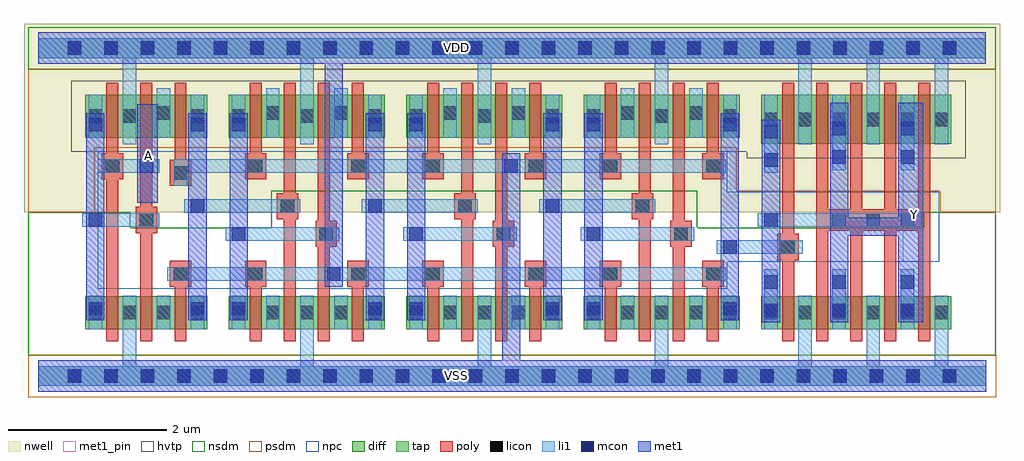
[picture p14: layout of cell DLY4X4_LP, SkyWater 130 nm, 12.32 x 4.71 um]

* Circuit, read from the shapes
.subckt DLY4X4_LP A VDD VSS Y
XM1 VSS A n1 VSS sky130_fd_pr__nfet_01v8 w=0.42 l=0.15
XM2 n2 n1 VSS VSS sky130_fd_pr__nfet_01v8 w=0.42 l=0.15
XM3 n3 VDD n2 VSS sky130_fd_pr__nfet_01v8 w=0.42 l=0.15
XM4 n4 VDD n5 VSS sky130_fd_pr__nfet_01v8 w=0.42 l=0.15
XM5 VSS n3 n4 VSS sky130_fd_pr__nfet_01v8 w=0.42 l=0.15
XM6 n6 n5 VSS VSS sky130_fd_pr__nfet_01v8 w=0.42 l=0.15
XM7 n7 VDD n6 VSS sky130_fd_pr__nfet_01v8 w=0.42 l=0.15
XM8 n8 VDD n9 VSS sky130_fd_pr__nfet_01v8 w=0.42 l=0.15
XM9 VSS n7 n8 VSS sky130_fd_pr__nfet_01v8 w=0.42 l=0.15
XM10 n10 n9 VSS VSS sky130_fd_pr__nfet_01v8 w=0.42 l=0.15
XM11 n11 VDD n10 VSS sky130_fd_pr__nfet_01v8 w=0.42 l=0.15
XM12 n12 VDD n13 VSS sky130_fd_pr__nfet_01v8 w=0.42 l=0.15
XM13 VSS n11 n12 VSS sky130_fd_pr__nfet_01v8 w=0.42 l=0.15
XM14 n14 n13 VSS VSS sky130_fd_pr__nfet_01v8 w=0.42 l=0.15
XM15 n15 VDD n14 VSS sky130_fd_pr__nfet_01v8 w=0.42 l=0.15
XM16 VSS n15 n16 VSS sky130_fd_pr__nfet_01v8 w=0.42 l=0.15
XM17 Y n16 VSS VSS sky130_fd_pr__nfet_01v8 w=0.42 l=0.15 m=4
XM18 VDD A n1 VDD sky130_fd_pr__pfet_01v8_hvt w=0.54 l=0.15
XM19 n17 n1 VDD VDD sky130_fd_pr__pfet_01v8_hvt w=0.54 l=0.15
XM20 n3 VSS n17 VDD sky130_fd_pr__pfet_01v8_hvt w=0.54 l=0.15
XM21 n18 VSS n5 VDD sky130_fd_pr__pfet_01v8_hvt w=0.54 l=0.15
XM22 VDD n3 n18 VDD sky130_fd_pr__pfet_01v8_hvt w=0.54 l=0.15
XM23 n19 n5 VDD VDD sky130_fd_pr__pfet_01v8_hvt w=0.54 l=0.15
XM24 n7 VSS n19 VDD sky130_fd_pr__pfet_01v8_hvt w=0.54 l=0.15
XM25 n20 VSS n9 VDD sky130_fd_pr__pfet_01v8_hvt w=0.54 l=0.15
XM26 VDD n7 n20 VDD sky130_fd_pr__pfet_01v8_hvt w=0.54 l=0.15
XM27 n21 n9 VDD VDD sky130_fd_pr__pfet_01v8_hvt w=0.54 l=0.15
XM28 n11 VSS n21 VDD sky130_fd_pr__pfet_01v8_hvt w=0.54 l=0.15
XM29 n22 VSS n13 VDD sky130_fd_pr__pfet_01v8_hvt w=0.54 l=0.15
XM30 VDD n11 n22 VDD sky130_fd_pr__pfet_01v8_hvt w=0.54 l=0.15
XM31 n23 n13 VDD VDD sky130_fd_pr__pfet_01v8_hvt w=0.54 l=0.15
XM32 n15 VSS n23 VDD sky130_fd_pr__pfet_01v8_hvt w=0.54 l=0.15
XM33 VDD n15 n16 VDD sky130_fd_pr__pfet_01v8_hvt w=0.62 l=0.15
XM34 Y n16 VDD VDD sky130_fd_pr__pfet_01v8_hvt w=0.62 l=0.15 m=4
.ends

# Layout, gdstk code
from math import pi, radians
import gdstk
lib = gdstk.Library(unit=1e-6, precision=1e-09)
def R(c, l, rs):  # rectangles x0, y0, x1, y1
    for r in rs: c.add(gdstk.rectangle(r[:2], r[2:], *l))
def A(c, l, x, y, w, h, nx, ny, dx, dy):  # array of equal rectangles
    R(c, l, [(x+i*dx, y+j*dy, x+i*dx+w, y+j*dy+h) for i in range(nx) for j in range(ny)])
def P(c, l, *ps):  # polygons
    for p in ps: c.add(gdstk.Polygon(p, *l))
nwell = (64, 20)
diff = (65, 20)
tap = (65, 44)
poly = (66, 20)
licon = (66, 44)
li1 = (67, 20)
mcon = (67, 44)
met1_pin = (68, 16)
met1 = (68, 20)
hvtp = (78, 44)
nsdm = (93, 44)
psdm = (94, 20)
npc = (95, 20)

l1m1_c_cdns_752016907003 = lib.new_cell('L1M1_C_CDNS_752016907003')
R(l1m1_c_cdns_752016907003, li1, [(-0.165,-0.085,0.165,0.085)])
R(l1m1_c_cdns_752016907003, mcon, [(-0.085,-0.085,0.085,0.085)])
R(l1m1_c_cdns_752016907003, met1, [(-0.115,-0.145,0.115,0.145)])

pyl1con_c_cdns_752016907 = lib.new_cell('PYL1CON_C_CDNS_752016907000')
R(pyl1con_c_cdns_752016907, poly, [(-0.135,-0.165,0.135,0.165)])
R(pyl1con_c_cdns_752016907, licon, [(-0.085,-0.085,0.085,0.085)])
R(pyl1con_c_cdns_752016907, npc, [(-0.185,-0.185,0.185,0.185)])

l1m1_c_cdns_752016907001 = lib.new_cell('L1M1_C_CDNS_752016907001')
R(l1m1_c_cdns_752016907001, li1, [(-0.085,-0.165,0.085,0.165)])
R(l1m1_c_cdns_752016907001, mcon, [(-0.085,-0.085,0.085,0.085)])
R(l1m1_c_cdns_752016907001, met1, [(-0.115,-0.145,0.115,0.145)])

l1m1_c_cdns_752016907002 = lib.new_cell('L1M1_C_CDNS_752016907002')
R(l1m1_c_cdns_752016907002, li1, [(-0.085,-0.345,0.085,0.345)])
R(l1m1_c_cdns_752016907002, mcon, [(-0.085,-0.265,0.085,-0.095), (-0.085,0.095,0.085,0.265)])
R(l1m1_c_cdns_752016907002, met1, [(-0.115,-0.325,0.115,0.325)])

licondiff_c_cdns_7520169 = lib.new_cell('LICONDIFF_C_CDNS_752016907004')
R(licondiff_c_cdns_7520169, diff, [(-0.125,-0.145,0.125,0.145)])
R(licondiff_c_cdns_7520169, licon, [(-0.085,-0.085,0.085,0.085), (-0.085,-0.085,0.085,0.085)])

dly4x4_lp = lib.new_cell('DLY4X4_LP')
R(dly4x4_lp, nwell, [(-0.18,2.07,12.14,4.445)])
A(dly4x4_lp, diff, 2.405, 0.59, 1.97, 0.42, 3, 1, 2.24, 0)
A(dly4x4_lp, diff, 2.405, 3.01, 1.97, 0.54, 3, 1, 2.24, 0)
R(dly4x4_lp, diff, [(0.595,0.59,2.135,1.01), (9.125,0.59,11.525,1.01), (9.125,2.93,11.525,3.55), (0.595,3.01,2.135,3.55)])
A(dly4x4_lp, poly, 9.39, 0.44, 0.15, 3.26, 5, 1, 0.43, 0)
R(dly4x4_lp, poly, [(0.86,0.44,1.01,3.7), (1.29,0.44,1.44,3.7), (1.72,0.44,1.87,1.16), (2.67,0.44,2.82,1.16), (3.1,0.44,3.25,3.7), (3.53,0.44,3.68,3.7), (3.96,0.44,4.11,1.16), (4.91,0.44,5.06,1.16), (5.34,0.44,5.49,3.7), (5.77,0.44,5.92,3.7), (6.2,0.44,6.35,1.16), (7.15,0.44,7.3,1.16), (7.58,0.44,7.73,3.7), (8.01,0.44,8.16,3.7), (8.44,0.44,8.59,1.16), (1.72,2.565,1.87,3.7), (2.67,2.65,2.82,3.7), (3.96,2.65,4.11,3.7), (4.91,2.65,5.06,3.7), (6.2,2.65,6.35,3.7), (7.15,2.65,7.3,3.7), (8.44,2.65,8.59,3.7)])
A(dly4x4_lp, licon, 0.375, -0.085, 0.17, 0.17, 25, 2, 0.46, 4.14)
A(dly4x4_lp, licon, 2.445, 0.715, 0.17, 0.17, 3, 2, 0.86, 2.48)
A(dly4x4_lp, licon, 4.685, 0.715, 0.17, 0.17, 3, 2, 0.86, 2.48)
A(dly4x4_lp, licon, 6.925, 0.715, 0.17, 0.17, 3, 2, 0.86, 2.48)
A(dly4x4_lp, licon, 9.165, 0.715, 0.17, 0.17, 6, 2, 0.43, 2.44)
R(dly4x4_lp, licon, [(0.635,0.715,0.805,0.885), (1.065,0.715,1.235,0.885), (1.925,0.715,2.095,0.885), (0.635,3.195,0.805,3.365), (1.065,3.195,1.235,3.365), (1.925,3.195,2.095,3.365)])
A(dly4x4_lp, li1, 9.165, 0.59, 0.17, 0.42, 3, 1, 0.86, 0)
A(dly4x4_lp, li1, 9.165, 2.93, 0.17, 0.62, 3, 1, 0.86, 0)
R(dly4x4_lp, li1, [(0.635,0.59,0.805,1.01), (1.925,0.59,2.095,1.01), (2.445,0.59,2.615,1.01), (4.165,0.59,4.335,1.01), (4.685,0.59,4.855,1.01), (6.405,0.59,6.575,1.01), (6.925,0.59,7.095,1.01), (8.645,0.59,8.815,1.01), (0.635,3.01,0.805,3.55), (1.925,3.01,2.095,3.55), (2.445,3.01,2.615,3.55), (4.165,3.01,4.335,3.55), (4.685,3.01,4.855,3.55), (6.405,3.01,6.575,3.55), (6.925,3.01,7.095,3.55), (8.645,3.01,8.815,3.55)])
P(dly4x4_lp, li1, [(8.68,2.735),(1.71,2.735),(1.71,2.4),(1.88,2.4),(1.88,2.565),(8.68,2.565)],
  [(11.96,4.265),(0,4.265),(0,4.015),(1.065,4.015),(1.065,2.925),(1.235,2.925),(1.235,4.015),(3.305,4.015),(3.305,2.925),(3.475,2.925),(3.475,4.015),(5.545,4.015),(5.545,2.925),(5.715,2.925),(5.715,4.015),(7.785,4.015),(7.785,2.925),(7.955,2.925),(7.955,4.015),(9.595,4.015),(9.595,2.925),(9.765,2.925),(9.765,4.015),(10.455,4.015),(10.455,2.925),(10.625,2.925),(10.625,4.015),(11.315,4.015),(11.315,2.925),(11.485,2.925),(11.485,4.015),(11.96,4.015)],
  [(11.965,0.125),(11.485,0.125),(11.485,1.015),(11.315,1.015),(11.315,0.125),(10.625,0.125),(10.625,1.015),(10.455,1.015),(10.455,0.125),(9.765,0.125),(9.765,1.015),(9.595,1.015),(9.595,0.125),(7.955,0.125),(7.955,1.015),(7.785,1.015),(7.785,0.125),(5.715,0.125),(5.715,1.015),(5.545,1.015),(5.545,0.125),(3.475,0.125),(3.475,1.015),(3.305,1.015),(3.305,0.125),(1.235,0.125),(1.235,1.015),(1.065,1.015),(1.065,0.125),(0,0.125),(0,-0.125),(11.965,-0.125)])
A(dly4x4_lp, mcon, 0.375, -0.085, 0.17, 0.17, 25, 2, 0.46, 4.14)
R(dly4x4_lp, met1_pin, [(10.91,1.44,11.17,2.68), (1.25,2.19,1.51,3.43)])
P(dly4x4_lp, met1, [(11.17,3.45),(10.855,3.45),(10.855,2),(10.225,2),(10.225,3.45),(9.995,3.45),(9.995,0.68),(10.225,0.68),(10.225,1.77),(10.855,1.77),(10.855,0.685),(10.91,0.685),(10.91,0.68),(11.17,0.68)],
  [(11.96,4.34),(0,4.34),(0,3.94),(3.615,3.94),(3.615,1.125),(3.845,1.125),(3.845,3.94),(11.96,3.94)],
  [(11.965,0.2),(6.085,0.2),(6.085,2.815),(5.855,2.815),(5.855,0.2),(0,0.2),(0,-0.2),(11.965,-0.2)])
P(dly4x4_lp, hvtp, [(11.705,3.73),(0.415,3.73),(0.415,2.83),(8.945,2.83),(8.945,2.75),(11.705,2.75)])
R(dly4x4_lp, nsdm, [(-0.125,3.875,12.085,4.405)])
P(dly4x4_lp, nsdm, [(12.085,2.07),(11.175,2.07),(11.175,1.875),(8.32,1.875),(8.32,2.34),(2.94,2.34),(2.94,1.875),(1.16,1.875),(1.16,2.07),(-0.125,2.07),(-0.125,0.265),(12.085,0.265)])
R(dly4x4_lp, psdm, [(-0.125,-0.265,12.09,0.265)])
P(dly4x4_lp, psdm, [(12.085,3.875),(-0.125,3.875),(-0.125,2.07),(0.715,2.07),(0.715,2.88),(8.81,2.88),(8.81,2.335),(11.385,2.335),(11.385,2.07),(12.085,2.07)])
P(dly4x4_lp, npc, [(11.37,2.325),(8.7,2.325),(8.7,2.835),(0.75,2.835),(0.75,1.105),(8.7,1.105),(8.7,1.445),(11.37,1.445)])
dly4x4_lp.add(gdstk.FlexPath([(0,4.14),(11.96,4.14)], 0.4, ends="flush", simple_path=True, layer=68, datatype=16))  # met1_pin
dly4x4_lp.add(gdstk.FlexPath([(0,0),(11.965,0)], 0.4, ends="flush", simple_path=True, layer=68, datatype=16))  # met1_pin
dly4x4_lp.add(gdstk.FlexPath([(6.49,0.705),(6.49,3.235)], 0.23, ends="flush", simple_path=True, layer=68, datatype=20))  # met1
dly4x4_lp.add(gdstk.FlexPath([(7.01,0.705),(7.01,3.235)], 0.23, ends="flush", simple_path=True, layer=68, datatype=20))  # met1
dly4x4_lp.add(gdstk.FlexPath([(4.25,0.705),(4.25,3.235)], 0.23, ends="flush", simple_path=True, layer=68, datatype=20))  # met1
dly4x4_lp.add(gdstk.FlexPath([(4.77,0.705),(4.77,3.235)], 0.23, ends="flush", simple_path=True, layer=68, datatype=20))  # met1
dly4x4_lp.add(gdstk.FlexPath([(2.53,0.705),(2.53,3.235)], 0.23, ends="flush", simple_path=True, layer=68, datatype=20))  # met1
dly4x4_lp.add(gdstk.FlexPath([(2.01,0.705),(2.01,3.235)], 0.23, ends="flush", simple_path=True, layer=68, datatype=20))  # met1
dly4x4_lp.add(gdstk.FlexPath([(1.38,2.19),(1.38,3.43)], 0.26, ends="flush", simple_path=True, layer=68, datatype=20))  # met1
dly4x4_lp.add(gdstk.FlexPath([(0.72,0.705),(0.72,3.235)], 0.23, ends="flush", simple_path=True, layer=68, datatype=20))  # met1
dly4x4_lp.add(gdstk.FlexPath([(9.25,0.68),(9.25,3.235)], 0.23, ends="flush", simple_path=True, layer=68, datatype=20))  # met1
dly4x4_lp.add(gdstk.FlexPath([(8.73,0.705),(8.73,3.235)], 0.23, ends="flush", simple_path=True, layer=68, datatype=20))  # met1
dly4x4_lp.add(gdstk.FlexPath([(1.58,0.59),(1.58,1.015)], 0.17, ends="flush", simple_path=True, layer=67, datatype=20))  # li1
dly4x4_lp.add(gdstk.FlexPath([(1.58,3.01),(1.58,3.635)], 0.17, ends="flush", simple_path=True, layer=67, datatype=20))  # li1
dly4x4_lp.add(gdstk.FlexPath([(8.3,0.59),(8.3,1.015)], 0.17, ends="flush", simple_path=True, layer=67, datatype=20))  # li1
dly4x4_lp.add(gdstk.FlexPath([(7.44,0.59),(7.44,1.015)], 0.17, ends="flush", simple_path=True, layer=67, datatype=20))  # li1
dly4x4_lp.add(gdstk.FlexPath([(8.3,3.01),(8.3,3.635)], 0.17, ends="flush", simple_path=True, layer=67, datatype=20))  # li1
dly4x4_lp.add(gdstk.FlexPath([(7.44,3.01),(7.44,3.635)], 0.17, ends="flush", simple_path=True, layer=67, datatype=20))  # li1
dly4x4_lp.add(gdstk.FlexPath([(6.06,0.59),(6.06,1.015)], 0.17, ends="flush", simple_path=True, layer=67, datatype=20))  # li1
dly4x4_lp.add(gdstk.FlexPath([(5.2,0.59),(5.2,1.015)], 0.17, ends="flush", simple_path=True, layer=67, datatype=20))  # li1
dly4x4_lp.add(gdstk.FlexPath([(6.06,3.01),(6.06,3.635)], 0.17, ends="flush", simple_path=True, layer=67, datatype=20))  # li1
dly4x4_lp.add(gdstk.FlexPath([(5.2,3.01),(5.2,3.635)], 0.17, ends="flush", simple_path=True, layer=67, datatype=20))  # li1
dly4x4_lp.add(gdstk.FlexPath([(8.565,1.63),(9.65,1.63)], 0.17, ends="flush", simple_path=True, layer=67, datatype=20))  # li1
dly4x4_lp.add(gdstk.FlexPath([(6.845,1.795),(8.28,1.795)], 0.17, ends="flush", simple_path=True, layer=67, datatype=20))  # li1
dly4x4_lp.add(gdstk.FlexPath([(6.325,2.145),(7.79,2.145)], 0.17, ends="flush", simple_path=True, layer=67, datatype=20))  # li1
dly4x4_lp.add(gdstk.FlexPath([(4.605,1.795),(6.04,1.795)], 0.17, ends="flush", simple_path=True, layer=67, datatype=20))  # li1
dly4x4_lp.add(gdstk.FlexPath([(4.085,2.145),(5.55,2.145)], 0.17, ends="flush", simple_path=True, layer=67, datatype=20))  # li1
dly4x4_lp.add(gdstk.FlexPath([(2.365,1.795),(3.8,1.795)], 0.17, ends="flush", simple_path=True, layer=67, datatype=20))  # li1
dly4x4_lp.add(gdstk.FlexPath([(1.845,2.145),(3.31,2.145)], 0.17, ends="flush", simple_path=True, layer=67, datatype=20))  # li1
dly4x4_lp.add(gdstk.FlexPath([(9.085,1.97),(11.155,1.97)], 0.17, ends="flush", simple_path=True, layer=67, datatype=20))  # li1
dly4x4_lp.add(gdstk.FlexPath([(1.315,2.65),(0.75,2.65)], 0.17, ends="flush", simple_path=True, layer=67, datatype=20))  # li1
dly4x4_lp.add(gdstk.FlexPath([(1.63,1.29),(8.68,1.29)], 0.17, ends="flush", simple_path=True, layer=67, datatype=20))  # li1
dly4x4_lp.add(gdstk.FlexPath([(3.82,0.59),(3.82,1.015)], 0.17, ends="flush", simple_path=True, layer=67, datatype=20))  # li1
dly4x4_lp.add(gdstk.FlexPath([(3.82,3.01),(3.82,3.635)], 0.17, ends="flush", simple_path=True, layer=67, datatype=20))  # li1
dly4x4_lp.add(gdstk.FlexPath([(0.555,1.97),(1.53,1.97)], 0.17, ends="flush", simple_path=True, layer=67, datatype=20))  # li1
dly4x4_lp.add(gdstk.FlexPath([(2.96,0.59),(2.96,1.015)], 0.17, ends="flush", simple_path=True, layer=67, datatype=20))  # li1
dly4x4_lp.add(gdstk.FlexPath([(2.96,3.01),(2.96,3.635)], 0.17, ends="flush", simple_path=True, layer=67, datatype=20))  # li1
dly4x4_lp.add(gdstk.FlexPath([(0,4.14),(11.96,4.14)], 0.25, ends="flush", simple_path=True, layer=65, datatype=44))  # tap
dly4x4_lp.add(gdstk.FlexPath([(0,0),(11.965,0)], 0.25, ends="flush", simple_path=True, layer=65, datatype=44))  # tap
dly4x4_lp.add(gdstk.Reference(l1m1_c_cdns_752016907003, (8.73,1.63)))
dly4x4_lp.add(gdstk.Reference(l1m1_c_cdns_752016907003, (7.01,1.795), rotation=pi, x_reflection=True))
dly4x4_lp.add(gdstk.Reference(l1m1_c_cdns_752016907003, (6.49,2.145), rotation=pi, x_reflection=True))
dly4x4_lp.add(gdstk.Reference(l1m1_c_cdns_752016907003, (4.77,1.795), rotation=pi, x_reflection=True))
dly4x4_lp.add(gdstk.Reference(l1m1_c_cdns_752016907003, (4.25,2.145), rotation=pi, x_reflection=True))
dly4x4_lp.add(gdstk.Reference(l1m1_c_cdns_752016907003, (2.53,1.795), rotation=pi, x_reflection=True))
dly4x4_lp.add(gdstk.Reference(l1m1_c_cdns_752016907003, (2.01,2.145), rotation=pi, x_reflection=True))
dly4x4_lp.add(gdstk.Reference(l1m1_c_cdns_752016907003, (5.97,2.65), rotation=pi, x_reflection=True))
dly4x4_lp.add(gdstk.Reference(l1m1_c_cdns_752016907003, (3.73,1.29), rotation=pi, x_reflection=True))
dly4x4_lp.add(gdstk.Reference(l1m1_c_cdns_752016907003, (0.72,1.97), rotation=pi, x_reflection=True))
dly4x4_lp.add(gdstk.Reference(l1m1_c_cdns_752016907003, (9.25,1.97)))
dly4x4_lp.add(gdstk.Reference(l1m1_c_cdns_752016907003, (1.365,2.65), x_reflection=True))
dly4x4_lp.add(gdstk.Reference(pyl1con_c_cdns_752016907, (8.115,1.795), rotation=pi))
dly4x4_lp.add(gdstk.Reference(pyl1con_c_cdns_752016907, (7.625,2.145), rotation=pi))
dly4x4_lp.add(gdstk.Reference(pyl1con_c_cdns_752016907, (5.875,1.795), rotation=pi))
dly4x4_lp.add(gdstk.Reference(pyl1con_c_cdns_752016907, (5.385,2.145), rotation=pi))
dly4x4_lp.add(gdstk.Reference(pyl1con_c_cdns_752016907, (3.635,1.795), rotation=pi))
dly4x4_lp.add(gdstk.Reference(pyl1con_c_cdns_752016907, (3.145,2.145), rotation=pi))
dly4x4_lp.add(gdstk.Reference(pyl1con_c_cdns_752016907, (1.365,1.97), rotation=pi))
dly4x4_lp.add(gdstk.Reference(pyl1con_c_cdns_752016907, (1.795,2.565), rotation=pi))
dly4x4_lp.add(gdstk.Reference(pyl1con_c_cdns_752016907, (4.035,2.65), rotation=pi))
dly4x4_lp.add(gdstk.Reference(pyl1con_c_cdns_752016907, (4.985,2.65), rotation=pi))
dly4x4_lp.add(gdstk.Reference(pyl1con_c_cdns_752016907, (6.275,2.65), rotation=pi))
dly4x4_lp.add(gdstk.Reference(pyl1con_c_cdns_752016907, (7.225,2.65), rotation=pi))
dly4x4_lp.add(gdstk.Reference(pyl1con_c_cdns_752016907, (2.745,2.65), rotation=pi))
dly4x4_lp.add(gdstk.Reference(pyl1con_c_cdns_752016907, (8.515,2.65), rotation=pi))
dly4x4_lp.add(gdstk.Reference(pyl1con_c_cdns_752016907, (7.225,1.29), rotation=pi))
dly4x4_lp.add(gdstk.Reference(pyl1con_c_cdns_752016907, (6.275,1.29), rotation=pi))
dly4x4_lp.add(gdstk.Reference(pyl1con_c_cdns_752016907, (4.985,1.29), rotation=pi))
dly4x4_lp.add(gdstk.Reference(pyl1con_c_cdns_752016907, (4.035,1.29), rotation=pi))
dly4x4_lp.add(gdstk.Reference(pyl1con_c_cdns_752016907, (8.515,1.29), rotation=pi))
dly4x4_lp.add(gdstk.Reference(pyl1con_c_cdns_752016907, (2.745,1.29), rotation=pi))
dly4x4_lp.add(gdstk.Reference(pyl1con_c_cdns_752016907, (9.465,1.63)))
dly4x4_lp.add(gdstk.Reference(pyl1con_c_cdns_752016907, (10.97,1.97), rotation=3*pi/2))
dly4x4_lp.add(gdstk.Reference(pyl1con_c_cdns_752016907, (10.54,1.97), rotation=3*pi/2))
dly4x4_lp.add(gdstk.Reference(pyl1con_c_cdns_752016907, (10.11,1.97), rotation=3*pi/2))
dly4x4_lp.add(gdstk.Reference(pyl1con_c_cdns_752016907, (1.795,1.29), rotation=pi))
dly4x4_lp.add(gdstk.Reference(pyl1con_c_cdns_752016907, (0.935,2.65), rotation=pi, x_reflection=True))
dly4x4_lp.add(gdstk.Reference(l1m1_c_cdns_752016907001, (6.49,3.175), rotation=pi, x_reflection=True))
dly4x4_lp.add(gdstk.Reference(l1m1_c_cdns_752016907001, (6.49,0.85), rotation=pi, x_reflection=True))
dly4x4_lp.add(gdstk.Reference(l1m1_c_cdns_752016907001, (7.01,0.85), rotation=pi, x_reflection=True))
dly4x4_lp.add(gdstk.Reference(l1m1_c_cdns_752016907001, (7.01,3.175), rotation=pi, x_reflection=True))
dly4x4_lp.add(gdstk.Reference(l1m1_c_cdns_752016907001, (4.25,3.175), rotation=pi, x_reflection=True))
dly4x4_lp.add(gdstk.Reference(l1m1_c_cdns_752016907001, (4.25,0.85), rotation=pi, x_reflection=True))
dly4x4_lp.add(gdstk.Reference(l1m1_c_cdns_752016907001, (4.77,0.85), rotation=pi, x_reflection=True))
dly4x4_lp.add(gdstk.Reference(l1m1_c_cdns_752016907001, (4.77,3.175), rotation=pi, x_reflection=True))
dly4x4_lp.add(gdstk.Reference(l1m1_c_cdns_752016907001, (2.53,3.175), rotation=pi, x_reflection=True))
dly4x4_lp.add(gdstk.Reference(l1m1_c_cdns_752016907001, (2.53,0.85), rotation=pi, x_reflection=True))
dly4x4_lp.add(gdstk.Reference(l1m1_c_cdns_752016907001, (2.01,0.85), rotation=pi, x_reflection=True))
dly4x4_lp.add(gdstk.Reference(l1m1_c_cdns_752016907001, (2.01,3.175), rotation=pi, x_reflection=True))
dly4x4_lp.add(gdstk.Reference(l1m1_c_cdns_752016907001, (8.73,3.175), rotation=pi, x_reflection=True))
dly4x4_lp.add(gdstk.Reference(l1m1_c_cdns_752016907001, (8.73,0.85), rotation=pi, x_reflection=True))
dly4x4_lp.add(gdstk.Reference(l1m1_c_cdns_752016907001, (0.72,0.85), rotation=pi, x_reflection=True))
dly4x4_lp.add(gdstk.Reference(l1m1_c_cdns_752016907001, (0.72,3.175), rotation=pi, x_reflection=True))
dly4x4_lp.add(gdstk.Reference(l1m1_c_cdns_752016907002, (9.25,2.91)))
dly4x4_lp.add(gdstk.Reference(l1m1_c_cdns_752016907002, (9.25,1.005)))
dly4x4_lp.add(gdstk.Reference(l1m1_c_cdns_752016907002, (10.11,1.005)))
dly4x4_lp.add(gdstk.Reference(l1m1_c_cdns_752016907002, (10.11,2.945)))
dly4x4_lp.add(gdstk.Reference(l1m1_c_cdns_752016907002, (10.97,2.945)))
dly4x4_lp.add(gdstk.Reference(l1m1_c_cdns_752016907002, (10.97,1.005)))
dly4x4_lp.add(gdstk.Reference(licondiff_c_cdns_7520169, (1.58,0.8)))
dly4x4_lp.add(gdstk.Reference(licondiff_c_cdns_7520169, (1.58,3.32)))
dly4x4_lp.add(gdstk.Reference(licondiff_c_cdns_7520169, (8.3,0.8)))
dly4x4_lp.add(gdstk.Reference(licondiff_c_cdns_7520169, (7.44,0.8)))
dly4x4_lp.add(gdstk.Reference(licondiff_c_cdns_7520169, (8.3,3.32)))
dly4x4_lp.add(gdstk.Reference(licondiff_c_cdns_7520169, (7.44,3.32)))
dly4x4_lp.add(gdstk.Reference(licondiff_c_cdns_7520169, (6.06,0.8)))
dly4x4_lp.add(gdstk.Reference(licondiff_c_cdns_7520169, (5.2,0.8)))
dly4x4_lp.add(gdstk.Reference(licondiff_c_cdns_7520169, (6.06,3.32)))
dly4x4_lp.add(gdstk.Reference(licondiff_c_cdns_7520169, (5.2,3.32)))
dly4x4_lp.add(gdstk.Reference(licondiff_c_cdns_7520169, (3.82,3.32)))
dly4x4_lp.add(gdstk.Reference(licondiff_c_cdns_7520169, (3.82,0.8)))
dly4x4_lp.add(gdstk.Reference(licondiff_c_cdns_7520169, (2.96,3.32)))
dly4x4_lp.add(gdstk.Reference(licondiff_c_cdns_7520169, (2.96,0.8)))
dly4x4_lp.add(gdstk.Label('VDD', (5.285,4.145), layer=68, texttype=5))
dly4x4_lp.add(gdstk.Label('Y', (11.055,2.035), layer=68, texttype=5))
dly4x4_lp.add(gdstk.Label('A', (1.395,2.785), layer=68, texttype=5))
dly4x4_lp.add(gdstk.Label('VSS', (5.285,0.005), layer=68, texttype=5))

lib.write_gds('DLY4X4_LP.gds')
